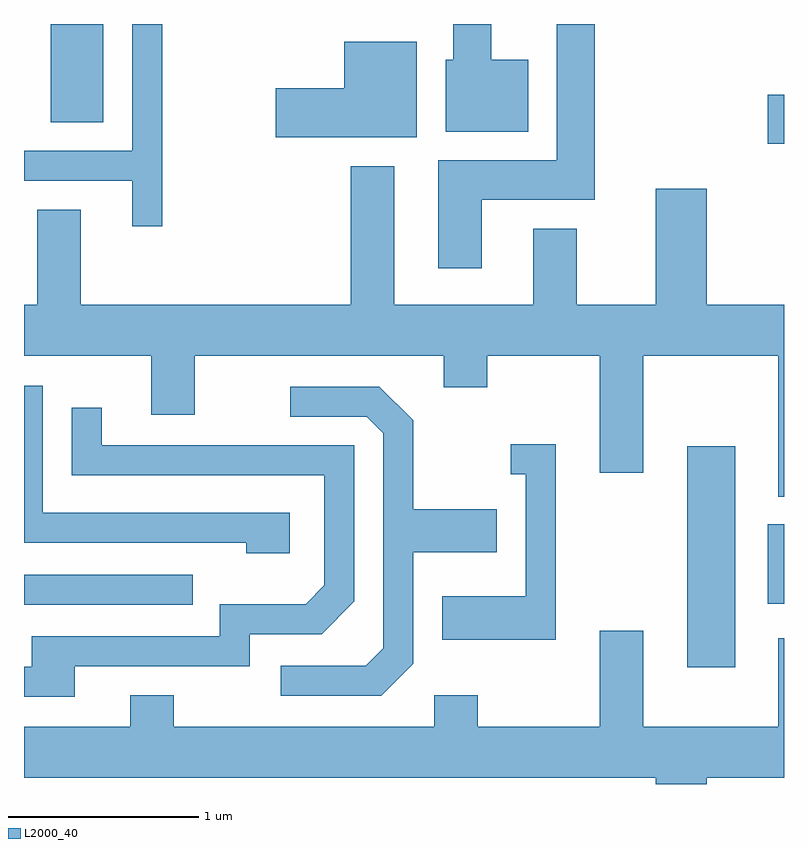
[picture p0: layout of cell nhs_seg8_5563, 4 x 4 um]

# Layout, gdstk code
import gdstk
lib = gdstk.Library(unit=1e-6, precision=1e-09)
def R(c, l, rs):  # rectangles x0, y0, x1, y1
    for r in rs: c.add(gdstk.rectangle(r[:2], r[2:], *l))
def P(c, l, *ps):  # polygons
    for p in ps: c.add(gdstk.Polygon(p, *l))
L2000_40 = (2000, 40)

nhs_seg8_5563 = lib.new_cell('nhs_seg8_5563')
R(nhs_seg8_5563, L2000_40, [(355.101,1876.956,355.354,1878.119), (351.611,1877.286,352.498,1877.444), (355.526,1877.291,355.611,1877.709), (355.526,1879.711,355.611,1879.969), (351.751,1879.826,352.029,1880.342)])
P(nhs_seg8_5563, L2000_40, [(352.339,1880.342),(352.181,1880.342),(352.181,1879.674),(351.611,1879.674),(351.611,1879.516),(352.181,1879.516),(352.181,1879.278),(352.339,1879.278)],
  [(354.264,1880.154),(354.069,1880.154),(354.069,1880.342),(353.871,1880.342),(353.871,1880.154),(353.831,1880.154),(353.831,1879.776),(354.264,1879.776)],
  [(354.019,1879.416),(354.614,1879.416),(354.614,1880.342),(354.271,1880.342),(354.271,1880.341),(354.416,1880.341),(354.416,1879.624),(353.791,1879.624),(353.791,1879.056),(354.019,1879.056)],
  [(353.679,1880.249),(353.296,1880.249),(353.296,1880.004),(352.936,1880.004),(352.936,1879.746),(353.679,1879.746)],
  [(355.611,1878.864),(355.204,1878.864),(355.204,1879.474),(354.936,1879.474),(354.936,1878.864),(354.519,1878.864),(354.519,1879.264),(354.291,1879.264),(354.291,1878.864),(353.559,1878.864),(353.559,1879.594),(353.331,1879.594),(353.331,1878.864),(351.909,1878.864),(351.909,1879.364),(351.681,1879.364),(351.681,1878.864),(351.611,1878.864),(351.611,1878.596),(352.281,1878.596),(352.281,1878.286),(352.509,1878.286),(352.509,1878.596),(353.821,1878.596),(353.821,1878.431),(354.049,1878.431),(354.049,1878.596),(354.641,1878.596),(354.641,1877.981),(354.869,1877.981),(354.869,1878.596),(355.581,1878.596),(355.581,1877.853),(355.611,1877.853)],
  [(353.009,1877.769),(351.709,1877.769),(351.709,1878.439),(351.611,1878.439),(351.611,1877.611),(352.781,1877.611),(352.781,1877.556),(353.009,1877.556)],
  [(353.659,1876.974),(353.659,1877.561),(354.099,1877.561),(354.099,1877.789),(353.659,1877.789),(353.659,1878.257),(353.482,1878.434),(353.013,1878.434),(353.013,1878.276),(353.414,1878.276),(353.501,1878.189),(353.501,1877.057),(353.409,1876.964),(352.963,1876.964),(352.963,1876.806),(353.492,1876.806)],
  [(351.879,1876.961),(352.799,1876.961),(352.799,1877.131),(353.177,1877.131),(353.349,1877.304),(353.349,1878.124),(352.019,1878.124),(352.019,1878.323),(351.861,1878.323),(351.861,1877.966),(353.191,1877.966),(353.191,1877.387),(353.094,1877.289),(352.641,1877.289),(352.641,1877.119),(351.651,1877.119),(351.651,1876.959),(351.611,1876.959),(351.611,1876.801),(351.879,1876.801)],
  [(354.409,1878.129),(354.173,1878.129),(354.173,1877.971),(354.251,1877.971),(354.251,1877.329),(353.811,1877.329),(353.811,1877.101),(354.409,1877.101)],
  [(354.869,1877.149),(354.641,1877.149),(354.641,1876.644),(353.999,1876.644),(353.999,1876.809),(353.771,1876.809),(353.771,1876.644),(352.399,1876.644),(352.399,1876.809),(352.171,1876.809),(352.171,1876.644),(351.611,1876.644),(351.611,1876.376),(354.936,1876.376),(354.936,1876.342),(355.204,1876.342),(355.204,1876.376),(355.611,1876.376),(355.611,1877.108),(355.581,1877.108),(355.581,1876.644),(354.869,1876.644)])

lib.write_gds('nhs_seg8_5563.gds')
